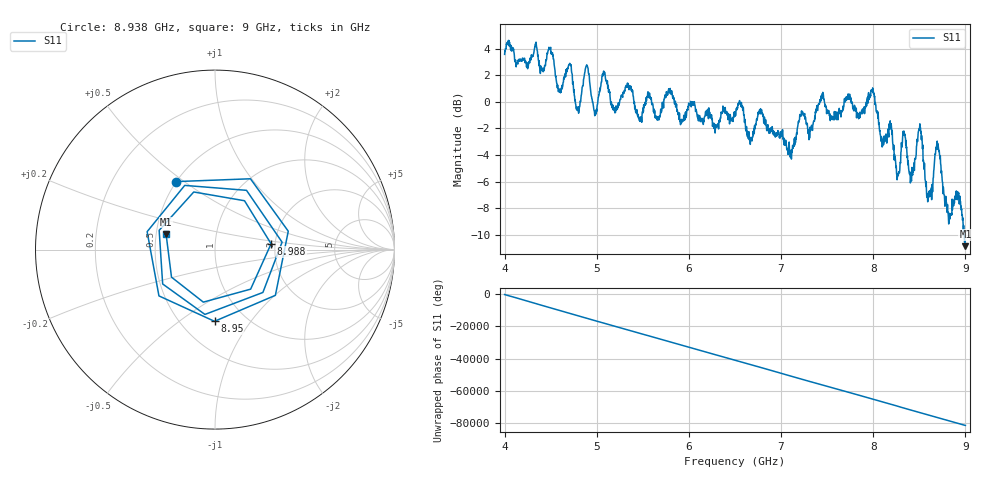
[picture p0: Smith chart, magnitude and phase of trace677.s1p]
! Created with skrf 1.8.0 (http://scikit-rf.org).
# Hz S RI R 50.0
!freq ReS11 ImS11
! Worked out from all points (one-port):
!   1601 points, 4 GHz to 9 GHz, reference 50 ohm
!   lowest |S11| = -10.9 dB at 9 GHz (marker M1), VSWR 1.80, Z = 28.2 + j5.31 ohm
!   |S11| at or under -10 dB: 8.985873 GHz to end of sweep
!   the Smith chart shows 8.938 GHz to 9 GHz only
!   S11 on the Smith chart (normalised r, x): 8.938 GHz: 0.50, +0.47; 8.95 GHz: 0.72, -0.69; 8.988 GHz: 1.90, +0.14; 9 GHz: 0.56, +0.11
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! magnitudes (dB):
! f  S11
! 4 GHz  3.6
! 4.494 GHz  4.0
! 4.625 GHz  1.0
! 4.709 GHz  2.9
! 4.8 GHz  -0.4
! 4.891 GHz  2.8
! 4.978 GHz  -1.0
! 5.075 GHz  2.3
! 5.25 GHz  0.1
! 5.875 GHz  -0.6
! 6.5 GHz  -0.9
! 7.125 GHz  -3.3
! 7.228 GHz  -0.8
! 7.75 GHz  0.3
! 7.991 GHz  0.9
! 8.197 GHz  -1.8
! 8.262 GHz  -5.7
! 8.331 GHz  -2.5
! 8.375 GHz  -4.7
! 8.422 GHz  -5.5
! 8.506 GHz  -1.6
! 8.603 GHz  -6.8
! 8.697 GHz  -3.2
! 8.822 GHz  -8.9
! 8.938 GHz  -7.2
! 8.95 GHz  -8.0
! 8.988 GHz  -10.1
! 9 GHz  -10.9
